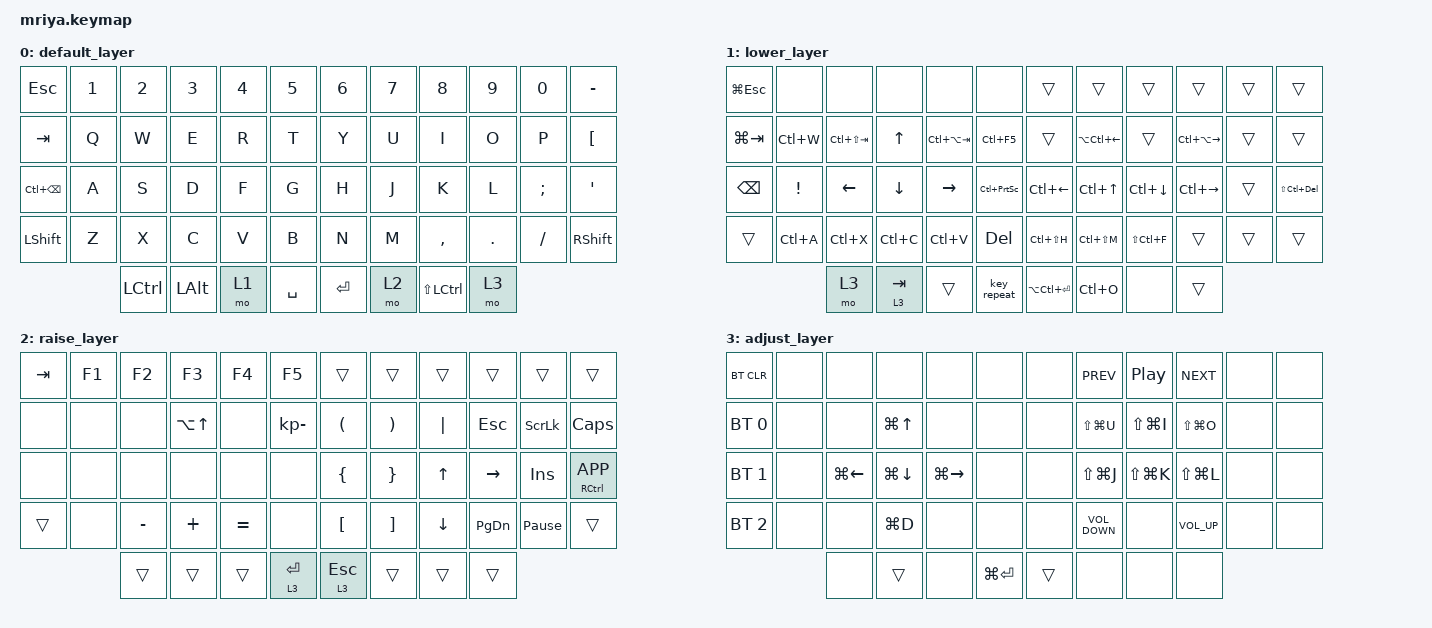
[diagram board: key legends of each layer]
/*
 * Copyright (c) 2023 Andrei Gaevskii
 *
 * SPDX-License-Identifier: MIT
 */

#include <behaviors.dtsi>
#include <dt-bindings/zmk/bt.h>
#include <dt-bindings/zmk/keys.h>

#define DEF 0
#define LWR 1
#define RSE 2
#define ADJ 3

&lt { quick_tap_ms = <200>; };

&mt { quick_tap_ms = <200>; };

/ {
    keymap {
        compatible = "zmk,keymap";

        default_layer {
            bindings = <
  &kp ESCAPE         &kp N1  &kp N2            &kp N3        &kp N4  &kp N5       &kp N6     &kp N7  &kp N8                &kp N9   &kp N0    &kp MINUS
  &kp TAB            &kp Q   &kp W             &kp E         &kp R   &kp T        &kp Y      &kp U   &kp I                 &kp O    &kp P     &kp LBKT
  &kp LC(BACKSPACE)  &kp A   &kp S             &kp D         &kp F   &kp G        &kp H      &kp J   &kp K                 &kp L    &kp SEMI  &kp SINGLE_QUOTE
  &kp LEFT_SHIFT     &kp Z   &kp X             &kp C         &kp V   &kp B        &kp N      &kp M   &kp COMMA             &kp DOT  &kp FSLH  &kp RIGHT_SHIFT
                             &kp LEFT_CONTROL  &kp LEFT_ALT  &mo 1   &kp SPACE    &kp ENTER  &mo 2   &kp LS(LEFT_CONTROL)  &mo 3
            >;
        };

        lower_layer {
            bindings = <
  &kp LG(ESCAPE)  &none      &none            &none      &none            &none                  &trans             &trans            &trans              &trans             &trans  &trans
  &kp LG(TAB)     &kp LC(W)  &kp LC(LS(TAB))  &kp UP     &kp LC(LA(TAB))  &kp LC(F5)             &trans             &kp LA(LC(LEFT))  &trans              &kp LC(LA(RIGHT))  &trans  &trans
  &kp BACKSPACE   &kp EXCL   &kp LEFT         &kp DOWN   &kp RIGHT        &kp LC(PRINTSCREEN)    &kp LC(LEFT)       &kp LC(UP_ARROW)  &kp LC(DOWN_ARROW)  &kp LC(RIGHT)      &trans  &kp LS(LC(DELETE))
  &trans          &kp LC(A)  &kp LC(X)        &kp LC(C)  &kp LC(V)        &kp DELETE             &kp LC(LS(H))      &kp LC(LS(M))     &kp LS(LC(F))       &trans             &trans  &trans
                             &mo 3            &lt 3 TAB  &trans           &key_repeat            &kp LA(LC(ENTER))  &kp LC(O)         &none               &trans
            >;
        };

        raise_layer {
            bindings = <
  &kp TAB  &kp F1  &kp F2     &kp F3            &kp F4     &kp F5          &trans                &trans                 &trans    &trans     &trans           &trans
  &none    &none   &none      &kp LA(UP_ARROW)  &none      &kp KP_MINUS    &kp LEFT_PARENTHESIS  &kp RIGHT_PARENTHESIS  &kp PIPE  &kp ESC    &kp SLCK         &kp CAPS
  &none    &none   &none      &none             &none      &none           &kp LEFT_BRACE        &kp RIGHT_BRACE        &kp UP    &kp RIGHT  &kp INS          &mt RCTRL K_APP
  &trans   &none   &kp MINUS  &kp PLUS          &kp EQUAL  &none           &kp LBKT              &kp RBKT               &kp DOWN  &kp PG_DN  &kp PAUSE_BREAK  &trans
                   &trans     &trans            &trans     &lt 3 RET       &lt 3 ESC             &trans                 &trans    &trans
            >;
        };

        adjust_layer {
            bindings = <
  &bt BT_CLR    &none  &none         &none         &none          &none            &none   &kp K_PREV         &kp C_PLAY_PAUSE  &kp K_NEXT       &none  &none
  &bt BT_SEL 0  &none  &none         &kp LG(UP)    &none          &none            &none   &kp LS(LG(U))      &kp LS(LG(I))     &kp LS(LG(O))    &none  &none
  &bt BT_SEL 1  &none  &kp LG(LEFT)  &kp LG(DOWN)  &kp LG(RIGHT)  &none            &none   &kp LS(LG(J))      &kp LS(LG(K))     &kp LS(LG(L))    &none  &none
  &bt BT_SEL 2  &none  &none         &kp LG(D)     &none          &none            &none   &kp C_VOLUME_DOWN  &none             &kp C_VOLUME_UP  &none  &none
                       &none         &trans        &none          &kp LG(ENTER)    &trans  &none              &none             &none
            >;
        };
    };
};
